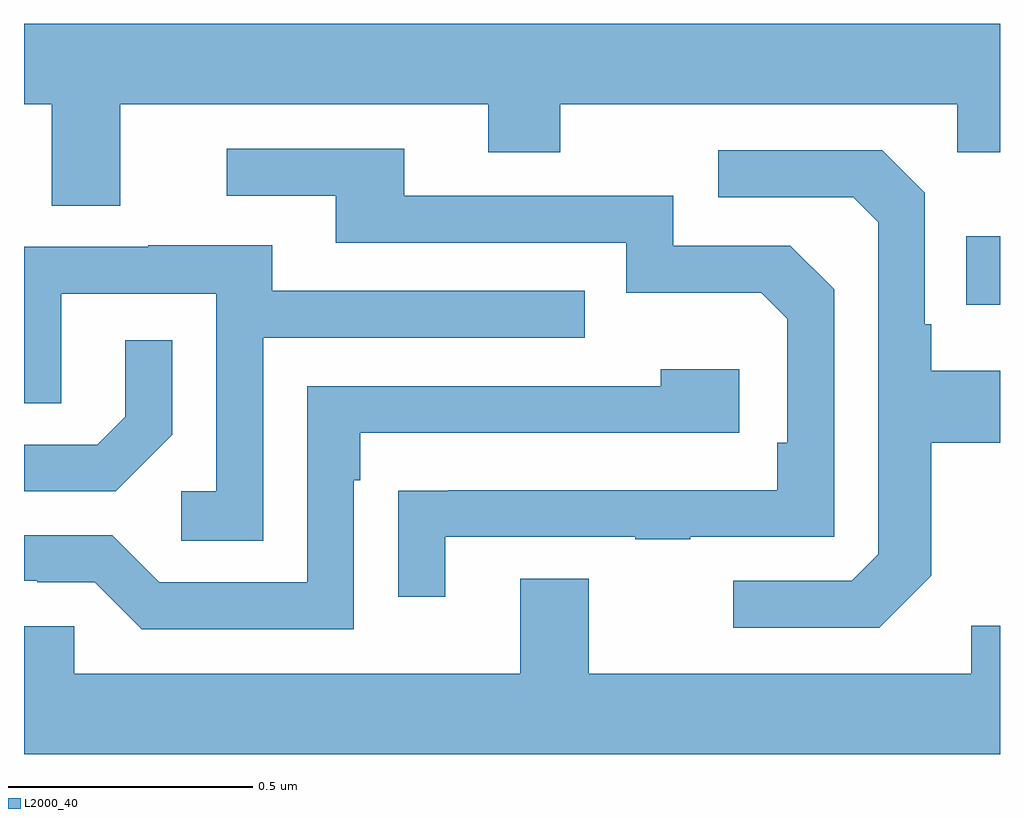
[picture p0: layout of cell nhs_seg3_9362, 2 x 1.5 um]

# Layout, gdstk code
import gdstk
lib = gdstk.Library(unit=1e-6, precision=1e-09)
def R(c, l, rs):  # rectangles x0, y0, x1, y1
    for r in rs: c.add(gdstk.rectangle(r[:2], r[2:], *l))
def P(c, l, *ps):  # polygons
    for p in ps: c.add(gdstk.Polygon(p, *l))
L2000_40 = (2000, 40)

nhs_seg3_9362 = lib.new_cell('nhs_seg3_9362')
R(nhs_seg3_9362, L2000_40, [(228.931,728.477,229,728.617)])
P(nhs_seg3_9362, L2000_40, [(227.197,728.888),(227.951,728.888),(227.951,728.789),(228.099,728.789),(228.099,728.888),(228.912,728.888),(228.912,728.789),(229,728.789),(229,729.052),(227,729.052),(227,728.888),(227.057,728.888),(227.057,728.68),(227.197,728.68)],
  [(227.863,728.001),(228.253,728.001),(228.253,727.996),(228.365,727.996),(228.365,728.001),(228.66,728.001),(228.66,728.508),(228.57,728.598),(228.33,728.598),(228.33,728.7),(227.779,728.7),(227.779,728.796),(227.415,728.796),(227.415,728.7),(227.639,728.7),(227.639,728.604),(228.234,728.604),(228.234,728.501),(228.511,728.501),(228.564,728.448),(228.564,728.194),(228.544,728.194),(228.544,728.097),(227.869,728.097),(227.869,728.096),(227.767,728.096),(227.767,727.878),(227.863,727.878)],
  [(228.859,727.921),(228.859,728.194),(229,728.194),(229,728.341),(228.859,728.341),(228.859,728.437),(228.846,728.437),(228.846,728.706),(228.759,728.793),(228.423,728.793),(228.423,728.697),(228.699,728.697),(228.75,728.646),(228.75,727.965),(228.696,727.911),(228.453,727.911),(228.453,727.815),(228.753,727.815)],
  [(227.49,728.409),(228.149,728.409),(228.149,728.505),(227.509,728.505),(227.509,728.599),(227.255,728.599),(227.255,728.595),(227,728.595),(227,728.275),(227.076,728.275),(227.076,728.499),(227.394,728.499),(227.394,728.094),(227.322,728.094),(227.322,727.993),(227.49,727.993)],
  [(227.304,728.21),(227.304,728.404),(227.207,728.404),(227.207,728.247),(227.15,728.19),(227,728.19),(227,728.094),(227.188,728.094)],
  [(227.676,728.117),(227.689,728.117),(227.689,728.214),(228.466,728.214),(228.466,728.344),(228.305,728.344),(228.305,728.31),(227.58,728.31),(227.58,727.908),(227.277,727.908),(227.181,728.004),(227,728.004),(227,727.911),(227.027,727.911),(227.027,727.908),(227.145,727.908),(227.241,727.812),(227.676,727.812)],
  [(229,727.819),(228.941,727.819),(228.941,727.72),(228.157,727.72),(228.157,727.915),(228.017,727.915),(228.017,727.72),(227.103,727.72),(227.103,727.818),(227,727.818),(227,727.556),(229,727.556)])

lib.write_gds('nhs_seg3_9362.gds')
